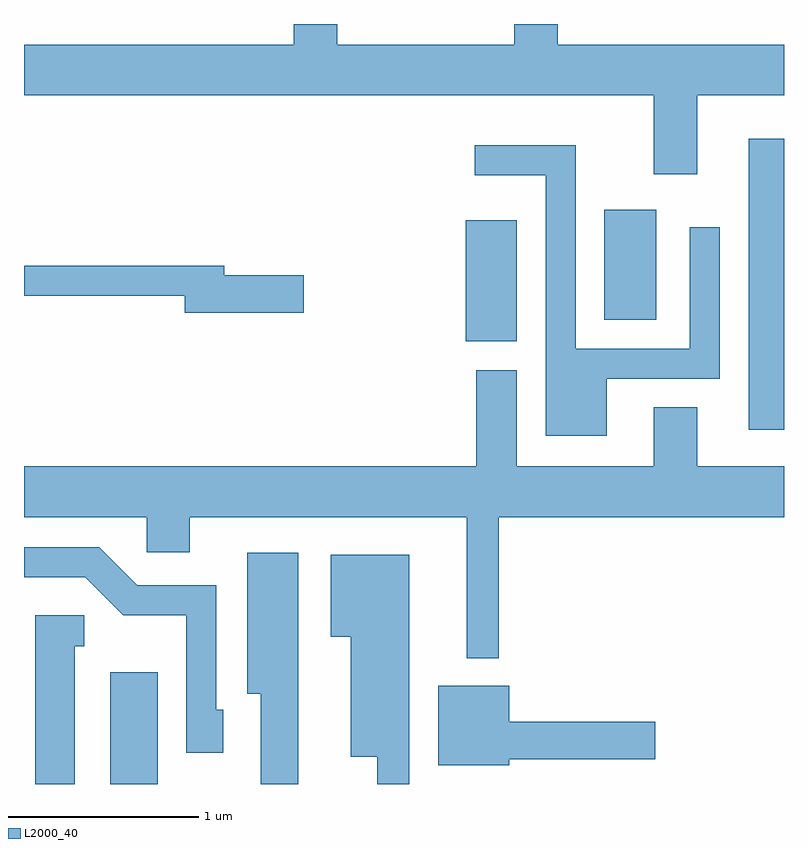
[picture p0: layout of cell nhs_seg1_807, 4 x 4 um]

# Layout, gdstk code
import gdstk
lib = gdstk.Library(unit=1e-6, precision=1e-09)
def R(c, l, rs):  # rectangles x0, y0, x1, y1
    for r in rs: c.add(gdstk.rectangle(r[:2], r[2:], *l))
def P(c, l, *ps):  # polygons
    for p in ps: c.add(gdstk.Polygon(p, *l))
L2000_40 = (2000, 40)

nhs_seg1_807 = lib.new_cell('nhs_seg1_807')
R(nhs_seg1_807, L2000_40, [(210.066,913.712,210.314,914.299), (213.426,915.576,213.611,917.109), (211.936,916.041,212.204,916.679), (212.666,916.156,212.939,916.734)])
P(nhs_seg1_807, L2000_40, [(213.154,917.336),(213.611,917.336),(213.611,917.604),(212.419,917.604),(212.419,917.712),(212.191,917.712),(212.191,917.604),(211.259,917.604),(211.259,917.712),(211.031,917.712),(211.031,917.604),(209.611,917.604),(209.611,917.336),(212.926,917.336),(212.926,916.921),(213.154,916.921)],
  [(212.679,915.846),(213.274,915.846),(213.274,916.643),(213.116,916.643),(213.116,916.004),(212.514,916.004),(212.514,917.074),(211.983,917.074),(211.983,916.916),(212.356,916.916),(212.356,915.546),(212.679,915.546)],
  [(211.084,916.389),(210.664,916.389),(210.664,916.439),(209.611,916.439),(209.611,916.281),(210.456,916.281),(210.456,916.191),(211.084,916.191)],
  [(212.109,915.116),(213.611,915.116),(213.611,915.384),(213.154,915.384),(213.154,915.694),(212.926,915.694),(212.926,915.384),(212.204,915.384),(212.204,915.889),(211.991,915.889),(211.991,915.384),(209.611,915.384),(209.611,915.116),(210.256,915.116),(210.256,914.931),(210.484,914.931),(210.484,915.116),(211.941,915.116),(211.941,914.373),(212.109,914.373)],
  [(210.659,914.104),(210.624,914.104),(210.624,914.759),(210.207,914.759),(210.007,914.959),(209.611,914.959),(209.611,914.801),(209.934,914.801),(210.134,914.601),(210.466,914.601),(210.466,913.876),(210.659,913.876)],
  [(211.054,914.929),(210.786,914.929),(210.786,914.186),(210.856,914.186),(210.856,913.712),(211.054,913.712)],
  [(211.639,914.919),(211.226,914.919),(211.226,914.486),(211.331,914.486),(211.331,913.856),(211.471,913.856),(211.471,913.712),(211.639,913.712)],
  [(209.879,914.436),(209.928,914.436),(209.928,914.599),(209.671,914.599),(209.671,913.712),(209.879,913.712)],
  [(212.164,913.841),(212.934,913.841),(212.934,914.039),(212.164,914.039),(212.164,914.229),(211.791,914.229),(211.791,913.811),(212.164,913.811)])

lib.write_gds('nhs_seg1_807.gds')
